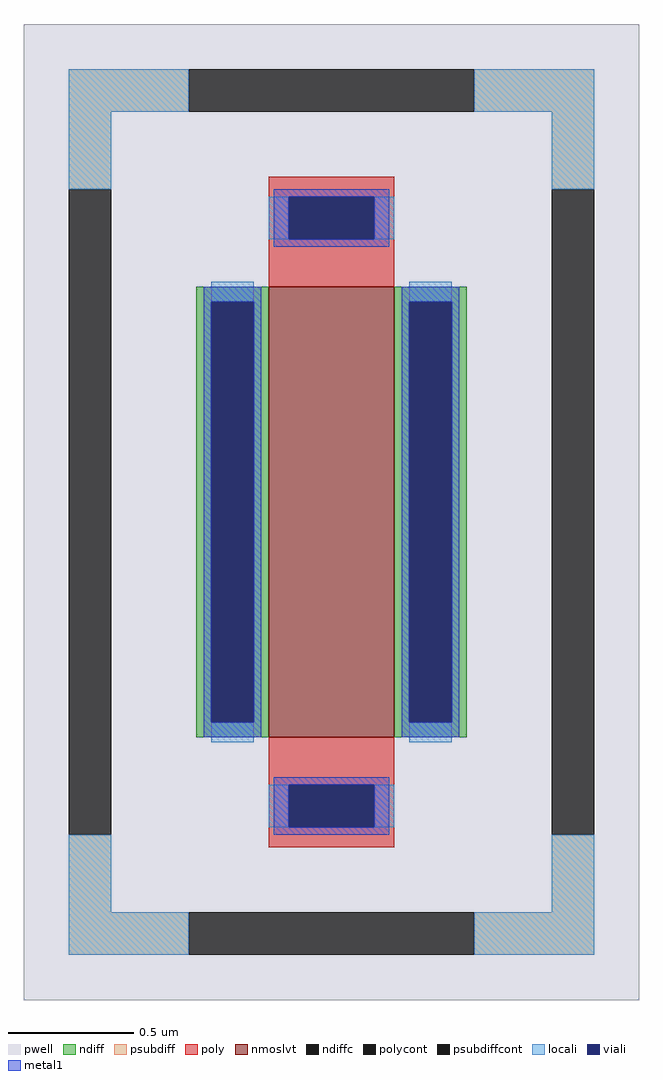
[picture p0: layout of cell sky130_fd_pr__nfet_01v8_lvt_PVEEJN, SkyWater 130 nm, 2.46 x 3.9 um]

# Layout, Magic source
magic
tech sky130A
<< pwell >>
rect -123 -195 123 195
<< nmoslvt >>
rect -25 -90 25 90
<< ndiff >>
rect -54 84 -25 90
rect -54 -84 -48 84
rect -31 -84 -25 84
rect -54 -90 -25 -84
rect 25 84 54 90
rect 25 -84 31 84
rect 48 -84 54 84
rect 25 -90 54 -84
<< ndiffc >>
rect -48 -84 -31 84
rect 31 -84 48 84
<< psubdiff >>
rect -105 160 -57 177
rect 57 160 105 177
rect -105 129 -88 160
rect 88 129 105 160
rect -105 -160 -88 -129
rect 88 -160 105 -129
rect -105 -177 -57 -160
rect 57 -177 105 -160
<< psubdiffcont >>
rect -57 160 57 177
rect -105 -129 -88 129
rect 88 -129 105 129
rect -57 -177 57 -160
<< poly >>
rect -25 126 25 134
rect -25 109 -17 126
rect 17 109 25 126
rect -25 90 25 109
rect -25 -109 25 -90
rect -25 -126 -17 -109
rect 17 -126 25 -109
rect -25 -134 25 -126
<< polycont >>
rect -17 109 17 126
rect -17 -126 17 -109
<< locali >>
rect -105 160 -57 177
rect 57 160 105 177
rect -105 129 -88 160
rect 88 129 105 160
rect -25 109 -17 126
rect 17 109 25 126
rect -48 84 -31 92
rect -48 -92 -31 -84
rect 31 84 48 92
rect 31 -92 48 -84
rect -25 -126 -17 -109
rect 17 -126 25 -109
rect -105 -160 -88 -129
rect 88 -160 105 -129
rect -105 -177 -57 -160
rect 57 -177 105 -160
<< viali >>
rect -17 109 17 126
rect -48 -84 -31 84
rect 31 -84 48 84
rect -17 -126 17 -109
<< metal1 >>
rect -23 126 23 129
rect -23 109 -17 126
rect 17 109 23 126
rect -23 106 23 109
rect -51 84 -28 90
rect -51 -84 -48 84
rect -31 -84 -28 84
rect -51 -90 -28 -84
rect 28 84 51 90
rect 28 -84 31 84
rect 48 -84 51 84
rect 28 -90 51 -84
rect -23 -109 23 -106
rect -23 -126 -17 -109
rect 17 -126 23 -109
rect -23 -129 23 -126
<< properties >>
string FIXED_BBOX -96 -168 96 168
string gencell sky130_fd_pr__nfet_01v8_lvt
string library sky130
string parameters w 1.8 l 0.5 m 1 nf 1 diffcov 100 polycov 100 guard 1 glc 1 grc 1 gtc 1 gbc 1 tbcov 100 rlcov 100 topc 1 botc 1 poverlap 0 doverlap 1 lmin 0.15 wmin 0.42 compatible {sky130_fd_pr__nfet_01v8 sky130_fd_pr__nfet_01v8_lvt  sky130_fd_bs_flash__special_sonosfet_star  sky130_fd_pr__nfet_g5v0d10v5 sky130_fd_pr__nfet_05v0_nvt  sky130_fd_pr__nfet_03v3_nvt} full_metal 1 viasrc 100 viadrn 100 viagate 100 viagb 0 viagr 0 viagl 0 viagt 0
<< end >>
